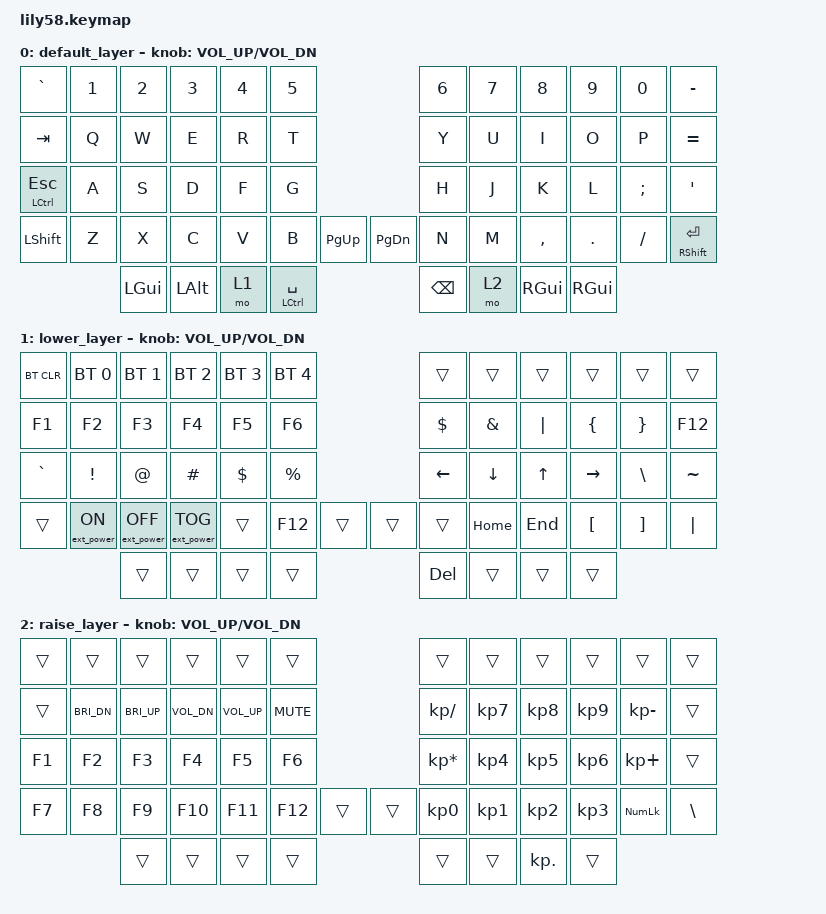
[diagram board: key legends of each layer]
/*
 * Copyright (c) 2020 The ZMK Contributors
 *
 * SPDX-License-Identifier: MIT
 */

#include <behaviors.dtsi>
#include <dt-bindings/zmk/keys.h>
#include <dt-bindings/zmk/bt.h>
#include <dt-bindings/zmk/ext_power.h>

/ {
	behaviors {
		mt_test: modified_tap_test {
			compatible = "zmk,behavior-hold-tap";
			label = "MOD_TAP_TEST";
			#binding-cells = <2>;
			flavor = "balanced";
			retro-tap;
			tapping-term-ms = <170>;
			quick-tap-ms = <200>;
			bindings = <&kp>, <&kp>;
		};
	};

	keymap {
		compatible = "zmk,keymap";

		default_layer {
// ------------------------------------------------------------------------------------------------------------
// |    `  |  1  |  2  |  3   |  4   |  5   |                   |  6   |  7    |  8    |  9   |   0   |   -   |
// |  TAB  |  Q  |  W  |  E   |  R   |  T   |                   |  Y   |  U    |  I    |  O   |   P   |   =   |
// |  ESC  |  A  |  S  |  D   |  F   |  G   |                   |  H   |  J    |  K    |  L   |   ;   |   '   |
// | SHIFT |  Z  |  X  |  C   |  V   |  B   |   "["  |  |  "]"  |  N   |  M    |  ,    |  .   |   /   | SHIFT |
//                     | GUI  | ALT  | LOWER|  SPACE |  | ENTER | RAISE| BSPC  | GUI   |
			bindings = <
&kp GRAVE      &kp N1 &kp N2 &kp N3   &kp N4   &kp N5                       &kp N6 &kp N7   &kp N8    &kp N9  &kp N0   &kp MINUS
&kp TAB        &kp Q  &kp W  &kp E    &kp R    &kp T                        &kp Y  &kp U    &kp I     &kp O   &kp P    &kp EQUAL
&mt LCTRL ESC  &kp A  &kp S  &kp D    &kp F    &kp G                        &kp H  &kp J    &kp K     &kp L   &kp SEMI &kp SQT
&kp LSHFT      &kp Z  &kp X  &kp C    &kp V    &kp B  &kp PG_UP   &kp PG_DN &kp N  &kp M    &kp COMMA &kp DOT &kp FSLH &mt RSHFT ENTER
                       &kp LGUI &kp LALT &mo 1  &mt_test LCTRL SPACE  &kp BSPC  &mo 2  &kp RGUI &kp RGUI
			>;

			sensor-bindings = <&inc_dec_kp C_VOL_UP C_VOL_DN>;
		};

		lower_layer {
// ------------------------------------------------------------------------------------------------------------
// | BTCLR | BT1 | BT2 |  BT3 |  BT4 |  BT5 |                   |      |       |       |      |       |       |
// |  F1   |  F2 |  F3 |  F4  |  F5  |  F6  |                   |  F7  |  F8   |  F9   |  F10 |  F11  |  F12  |
// |   `   |  !  |  @  |  #   |  $   |  %   |                   |  ^   |  &    |  *    |  (   |   )   |   ~   |
// |       |     |     |      |      |      |        |  |       |      |  _    |  +    |  {   |   }   |  "|"  |
//                     |      |      |      |        |  |       |      |       |       |
			bindings = <
&bt BT_CLR &bt BT_SEL 0     &bt BT_SEL 1      &bt BT_SEL 2      &bt BT_SEL 3 &bt BT_SEL 4                  &trans     &trans    &trans    &trans     &trans    &trans
&kp F1     &kp F2           &kp F3            &kp F4            &kp F5       &kp F6                        &kp DOLLAR &kp AMPS  &kp PIPE  &kp LBRC   &kp RBRC  &kp F12
&kp GRAVE  &kp EXCL         &kp AT            &kp HASH          &kp DOLLAR   &kp PRCNT                     &kp LEFT   &kp DOWN  &kp UP    &kp RIGHT  &kp BSLH  &kp TILDE
&trans     &ext_power EP_ON &ext_power EP_OFF &ext_power EP_TOG &trans       &kp F12    &trans   &trans    &trans     &kp HOME  &kp END   &kp LBKT   &kp RBKT  &kp PIPE
                                              &trans            &trans       &trans     &trans   &kp DEL   &trans     &trans    &trans
			>;

			sensor-bindings = <&inc_dec_kp C_VOL_UP C_VOL_DN>;
		};

		raise_layer {
// ------------------------------------------------------------------------------------------------------------
// |       |     |     |      |      |      |                   |      |       |       |      |       |       |
// |   `   |  1  |  2  |  3   |  4   |  5   |                   |  6   |   7   |   8   |  9   |   0   |       |
// |   F1  |  F2 |  F3 |  F4  |  F5  |  F6  |                   |      |   <-  |   v   |  ^   |  ->   |       |
// |   F7  |  F8 |  F9 |  F10 |  F11 |  F12 |        |  |       |  +   |   -   |   =   |  [   |   ]   |   \   |
//                     |      |      |      |        |  |       |      |       |       |
			bindings = <
&trans    &trans        &trans        &trans       &trans       &trans                       &trans           &trans    &trans    &trans   &trans    &trans
&trans    &kp C_BRI_DN  &kp C_BRI_UP  &kp C_VOL_DN &kp C_VOL_UP &kp C_MUTE                   &kp KP_DIVIDE    &kp KP_N7    &kp KP_N8    &kp KP_N9   &kp KP_MINUS  &trans
&kp F1    &kp F2        &kp F3 		  &kp F4       &kp F5       &kp F6                       &kp KP_MULTIPLY  &kp KP_N4    &kp KP_N5    &kp KP_N6   &kp KP_PLUS   &trans
&kp F7    &kp F8        &kp F9		  &kp F10      &kp F11      &kp F12   &trans    &trans   &kp KP_N0        &kp KP_N1    &kp KP_N2    &kp KP_N3   &kp KP_NUM    &kp BSLH
                        		      &trans       &trans       &trans    &trans    &trans   &trans           &kp KP_DOT   &trans
			>;

			sensor-bindings = <&inc_dec_kp C_VOL_UP C_VOL_DN>;
		};
	};
};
